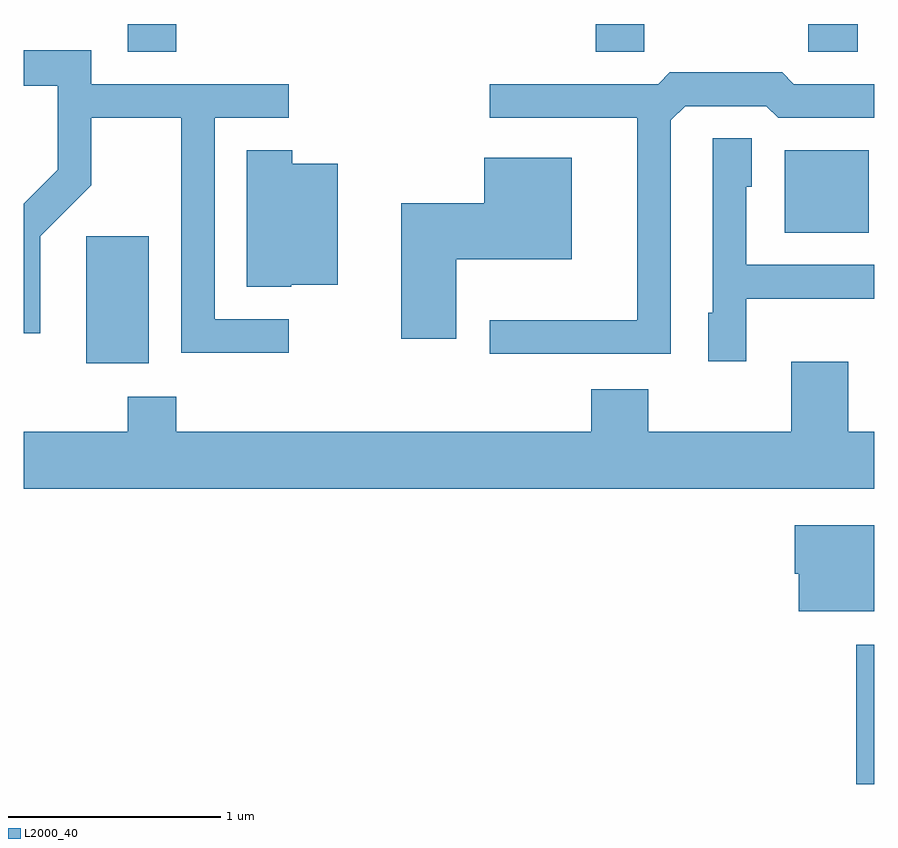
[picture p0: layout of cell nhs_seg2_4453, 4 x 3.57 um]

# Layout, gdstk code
import gdstk
lib = gdstk.Library(unit=1e-6, precision=1e-09)
def R(c, l, rs):  # rectangles x0, y0, x1, y1
    for r in rs: c.add(gdstk.rectangle(r[:2], r[2:], *l))
def P(c, l, *ps):  # polygons
    for p in ps: c.add(gdstk.Polygon(p, *l))
L2000_40 = (2000, 40)

nhs_seg2_4453 = lib.new_cell('nhs_seg2_4453')
R(nhs_seg2_4453, L2000_40, [(319.526,1080.228,319.611,1080.884), (315.906,1082.206,316.199,1082.804), (319.191,1082.821,319.584,1083.209), (316.101,1083.671,316.329,1083.802), (318.301,1083.671,318.529,1083.802), (319.301,1083.671,319.534,1083.802)])
P(nhs_seg2_4453, L2000_40, [(316.858,1082.414),(316.509,1082.414),(316.509,1083.361),(316.858,1083.361),(316.858,1083.519),(315.929,1083.519),(315.929,1083.679),(315.611,1083.679),(315.611,1083.511),(315.771,1083.511),(315.771,1083.117),(315.611,1082.957),(315.611,1082.348),(315.689,1082.348),(315.689,1082.804),(315.929,1083.044),(315.929,1083.361),(316.351,1083.361),(316.351,1082.256),(316.858,1082.256)],
  [(318.654,1083.349),(318.722,1083.416),(319.104,1083.416),(319.159,1083.361),(319.611,1083.361),(319.611,1083.519),(319.232,1083.519),(319.177,1083.574),(318.649,1083.574),(318.594,1083.519),(317.803,1083.519),(317.803,1083.361),(318.496,1083.361),(318.496,1082.409),(317.803,1082.409),(317.803,1082.251),(318.654,1082.251)],
  [(319.009,1082.511),(319.611,1082.511),(319.611,1082.669),(319.009,1082.669),(319.009,1083.036),(319.034,1083.036),(319.034,1083.264),(318.851,1083.264),(318.851,1082.444),(318.831,1082.444),(318.831,1082.216),(319.009,1082.216)],
  [(316.87,1082.576),(317.089,1082.576),(317.089,1083.144),(316.874,1083.144),(316.874,1083.209),(316.661,1083.209),(316.661,1082.566),(316.87,1082.566)],
  [(317.644,1082.696),(318.189,1082.696),(318.189,1083.174),(317.776,1083.174),(317.776,1082.959),(317.386,1082.959),(317.386,1082.321),(317.644,1082.321)],
  [(319.611,1081.884),(319.489,1081.884),(319.489,1082.214),(319.221,1082.214),(319.221,1081.884),(318.549,1081.884),(318.549,1082.084),(318.281,1082.084),(318.281,1081.884),(316.329,1081.884),(316.329,1082.049),(316.101,1082.049),(316.101,1081.884),(315.611,1081.884),(315.611,1081.616),(319.611,1081.616)],
  [(319.611,1081.444),(319.236,1081.444),(319.236,1081.216),(319.256,1081.216),(319.256,1081.041),(319.611,1081.041)])

lib.write_gds('nhs_seg2_4453.gds')
